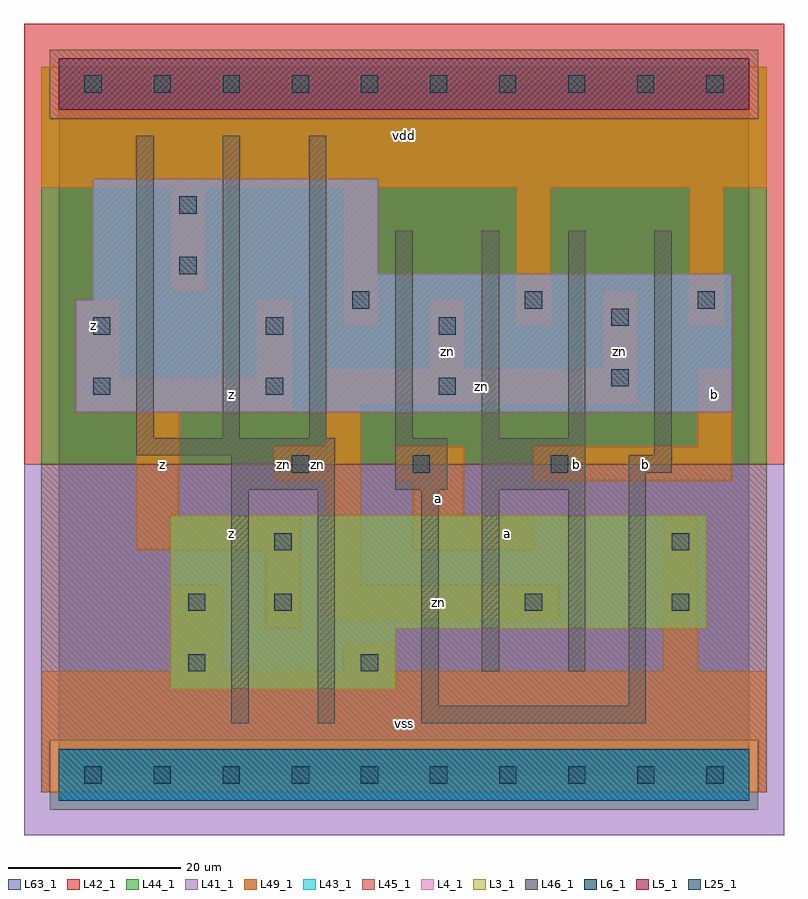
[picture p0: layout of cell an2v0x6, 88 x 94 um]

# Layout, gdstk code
import gdstk
lib = gdstk.Library(unit=1e-6, precision=1e-09)
def R(c, l, rs):  # rectangles x0, y0, x1, y1
    for r in rs: c.add(gdstk.rectangle(r[:2], r[2:], *l))
def A(c, l, x, y, w, h, nx, ny, dx, dy):  # array of equal rectangles
    R(c, l, [(x+i*dx, y+j*dy, x+i*dx+w, y+j*dy+h) for i in range(nx) for j in range(ny)])
L3_1 = (3, 1)
L4_1 = (4, 1)
L5_1 = (5, 1)
L6_1 = (6, 1)
L25_1 = (25, 1)
L41_1 = (41, 1)
L42_1 = (42, 1)
L43_1 = (43, 1)
L44_1 = (44, 1)
L45_1 = (45, 1)
L46_1 = (46, 1)
L49_1 = (49, 1)
L63_1 = (63, 1)

an2v0x6 = lib.new_cell('an2v0x6')
R(an2v0x6, L3_1, [(13,10,39,17), (13,17,75,30)])
R(an2v0x6, L4_1, [(2,42,78,55), (4,55,78,58), (4,58,37,69)])
R(an2v0x6, L5_1, [(0,77,80,83)])
R(an2v0x6, L6_1, [(0,-3,80,3), (0,-3,80,3)])
A(an2v0x6, L25_1, 3, -1, 2, 2, 10, 2, 8, 80)
A(an2v0x6, L25_1, 4, 44, 2, 2, 3, 2, 20, 7)
A(an2v0x6, L25_1, 34, 54, 2, 2, 3, 1, 20, 0)
R(an2v0x6, L25_1, [(15,12,17,14), (35,12,37,14), (15,19,17,21), (25,19,27,21), (54,19,56,21), (71,19,73,21), (25,26,27,28), (71,26,73,28), (27,35,29,37), (41,35,43,37), (57,35,59,37), (64,45,66,47), (64,52,66,54), (14,58,16,60), (14,65,16,67)])
R(an2v0x6, L41_1, [(-4,-7,84,36)])
R(an2v0x6, L42_1, [(-4,36,84,87)])
R(an2v0x6, L43_1, [(0,-3,80,3), (13,10,39,17), (13,17,75,30), (2,42,78,55), (4,55,78,58), (4,58,37,69), (0,77,80,83)])
R(an2v0x6, L44_1, [(-1,-4,81,4), (-2,36,82,76), (-2,76,-1,82), (81,76,82,82)])
R(an2v0x6, L45_1, [(-2,-2,-1,4), (81,-2,82,4), (-2,4,82,36), (-1,76,81,84)])
A(an2v0x6, L46_1, 9, 39, 2, 35, 3, 1, 10, 0)
A(an2v0x6, L46_1, 39, 39, 2, 24, 3, 1, 10, 0)
R(an2v0x6, L46_1, [(20,6,22,33), (30,6,32,33), (42,6,68,8), (42,8,44,33), (66,8,68,35), (49,12,51,33), (59,12,61,33), (20,33,32,37), (39,33,45,39), (49,33,61,39), (66,35,71,37), (9,37,32,39), (69,37,71,63)])
A(an2v0x6, L49_1, 33, 52, 4, 16, 3, 1, 20, 0)
R(an2v0x6, L49_1, [(-2,-2,82,12), (13,12,19,22), (33,12,39,15), (70,12,74,30), (24,17,28,26), (31,18,58,22), (31,22,35,34), (9,26,28,30), (41,26,55,30), (9,30,14,42), (41,30,47,34), (25,34,35,38), (39,34,47,38), (55,34,78,38), (31,38,35,43), (74,38,78,47), (2,42,27,46), (31,43,67,47), (2,46,7,55), (23,46,27,55), (43,47,47,55), (63,47,67,56), (13,56,17,68), (-2,68,82,82)])
R(an2v0x6, L63_1, [(0,0,80,80)])
an2v0x6.add(gdstk.Label('zn', (26,36), layer=46, texttype=1))
an2v0x6.add(gdstk.Label('z', (4,52), layer=49, texttype=1))
an2v0x6.add(gdstk.Label('z', (20,28), layer=49, texttype=1))
an2v0x6.add(gdstk.Label('z', (12,36), layer=49, texttype=1))
an2v0x6.add(gdstk.Label('z', (20,44), layer=49, texttype=1))
an2v0x6.add(gdstk.Label('vss', (40,6), layer=49, texttype=1))
an2v0x6.add(gdstk.Label('a', (44,32), layer=49, texttype=1))
an2v0x6.add(gdstk.Label('zn', (30,36), layer=49, texttype=1))
an2v0x6.add(gdstk.Label('zn', (45,49), layer=49, texttype=1))
an2v0x6.add(gdstk.Label('vdd', (40,74), layer=49, texttype=1))
an2v0x6.add(gdstk.Label('a', (52,28), layer=49, texttype=1))
an2v0x6.add(gdstk.Label('zn', (44,20), layer=49, texttype=1))
an2v0x6.add(gdstk.Label('b', (60,36), layer=49, texttype=1))
an2v0x6.add(gdstk.Label('b', (68,36), layer=49, texttype=1))
an2v0x6.add(gdstk.Label('zn', (49,45), layer=49, texttype=1))
an2v0x6.add(gdstk.Label('b', (76,44), layer=49, texttype=1))
an2v0x6.add(gdstk.Label('zn', (65,49), layer=49, texttype=1))

lib.write_gds('an2v0x6.gds')
